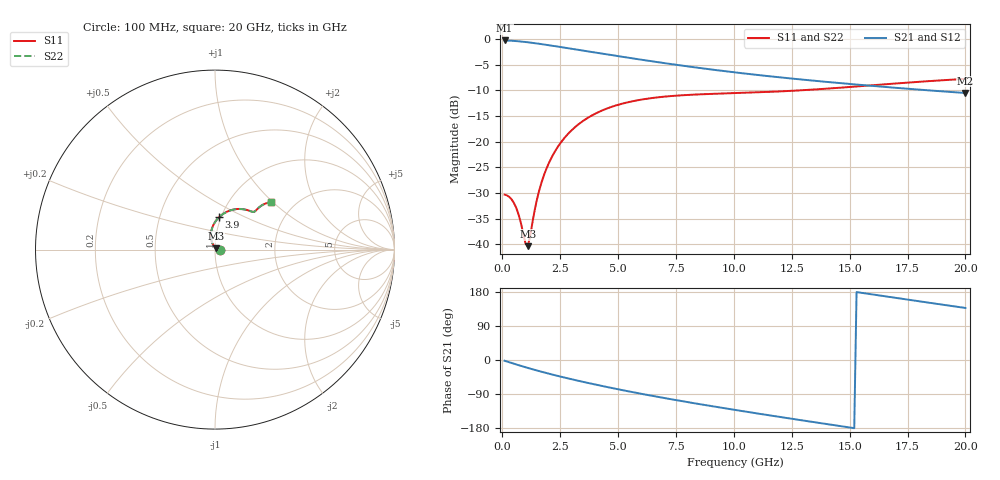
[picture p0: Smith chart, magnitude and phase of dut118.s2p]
! Touchstone file exported from HFSS 2023.1.0
!  File:  D:/Users/fzz/RDL_TSV/temp_RDL_TSV_118_1778750369.aedt
!  Generated:  5:31:00 %x4E0B%x5348  5%x6708 14, 2026
!  Design:  RDL_TSV
!  Project:  temp_RDL_TSV_118_1778750369
!  Setup:  Setup1
!  Solution:  Sweep
! Variables:
!  dtsv = 12.73um
!  hbump = 3um
!  htsv = 86.54um
!  ldown = 231.03um
!  lrdl = 516.14um
!  p = 40
!  p1 = 42.64um
!  rhole = 10um
!  subl = 2757.65um
!  t = 450um
!  tdown = 2.82um
!  trdl = 2.33um
!  viad = 10um
!  wdown = 24.38um
!  wrdl = 11.21um
!  xbump = 18um
# GHz S MA R 50.000000
! Terminal data exported
! Port[1] = TM1_1_T1
! Port[2] = TM1_4_T1
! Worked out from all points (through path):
!   200 points, 100 MHz to 20 GHz, reference 50 ohm
!   highest |S21| = -0.28 dB at 100 MHz (marker M1); lowest = -10.5 dB at 20 GHz (marker M2)
!   group delay of S21, straight-line fit = 29.2 ps
!   lowest |S11| = -40.3 dB at 1.1 GHz (marker M3), VSWR 1.02, Z = 50.5 + j0.84 ohm
!   |S11| at or under -10 dB: start of sweep to 12.83 GHz
!   |S22| runs from -40.3 to -7.8 dB; largest |S21 - S12| = 3.9e-14
!   S11 on the Smith chart (normalised r, x): 100 MHz: 1.06, -0.00; 3.9 GHz: 0.98, +0.37; 20 GHz: 1.54, +0.97
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0.1  0.03058 -0.4  0.9688 -2.0  0.9688 -2.0  0.03058 -0.4
! Gamma 0 0 0 0
! Port Impedance 50 0 50 0
0.4  0.02753 -2.3  0.9625 -7.9  0.9625 -7.9  0.02753 -2.3
0.6  0.02278 -2.2  0.9553 -11.7  0.9553 -11.7  0.02279 -2.2
0.8  0.0163 4.0  0.9464 -15.4  0.9464 -15.4  0.01632 4.0
1  0.01025 31.4  0.936 -19.1  0.936 -19.1  0.01027 31.3
1.1  0.009629 59.8  0.9303 -20.8  0.9303 -20.8  0.009643 59.6
1.2  0.01193 85.4  0.9244 -22.6  0.9244 -22.6  0.01193 85.2
1.4  0.02166 107.2  0.9119 -26.1  0.9119 -26.1  0.02163 107.1
1.6  0.03397 112.2  0.8988 -29.4  0.8988 -29.4  0.03392 112.1
1.8  0.04733 112.2  0.8854 -32.7  0.8854 -32.7  0.04726 112.2
2  0.0612 110.4  0.8717 -35.9  0.8717 -35.9  0.06111 110.3
2.6  0.1032 101.8  0.8306 -45.1  0.8306 -45.1  0.103 101.7
3.5  0.1603 88.3  0.7713 -57.8  0.7713 -57.8  0.16 88.2
3.9  0.182 82.9  0.7462 -63.2  0.7462 -63.2  0.1816 82.8
5.2  0.2355 68.4  0.6709 -79.7  0.6709 -79.7  0.235 68.3
6.8  0.272 56.1  0.5917 -98.2  0.5917 -98.2  0.2713 56.1
8.4  0.2886 48.8  0.5271 -115.2  0.5271 -115.2  0.2878 48.8
10.1  0.2978 45.0  0.4721 -132.2  0.4721 -132.2  0.2969 45.0
11.7  0.307 43.8  0.4304 -147.6  0.4304 -147.6  0.3061 43.9
13.4  0.3219 43.8  0.394 -163.4  0.394 -163.4  0.321 43.8
16.7  0.3651 43.1  0.3392 166.6  0.3392 166.6  0.3643 43.2
20  0.4092 40.1  0.2982 137.3  0.2982 137.3  0.4086 40.2
